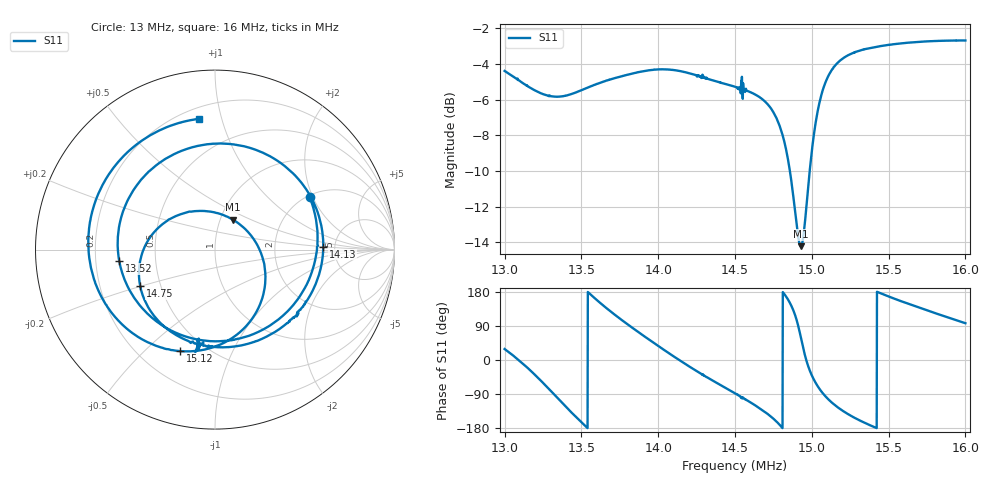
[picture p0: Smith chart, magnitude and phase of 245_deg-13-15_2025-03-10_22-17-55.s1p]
! NanoVNA-App
! Date: 2025-03-10 22:21:13
! Start: 13MHz Stop: 16MHz Points: 1601
! S-Parameter data: F S11
# Hz S RI R 50
!  Frequency  S11_Real  S11_Imag
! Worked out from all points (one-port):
!   1601 points, 13 MHz to 16 MHz, reference 50 ohm
!   lowest |S11| = -14.2 dB at 14.93 MHz (marker M1), VSWR 1.48, Z = 57.6 + j19.9 ohm
!   |S11| at or under -10 dB: 14.86 MHz to 14.99 MHz (129.2 kHz wide, 0.866 % of centre)
!   S11 on the Smith chart (normalised r, x): 13 MHz: 2.06, +1.89; 13.52 MHz: 0.30, -0.05; 14.13 MHz: 4.03, +0.21; 14.75 MHz: 0.38, -0.20; 15.12 MHz: 0.37, -0.65; 16 MHz: 0.27, +0.85
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1.3e7  0.5273 0.2922
1.308812e7  0.5686 0.00651
1.316875e7  0.4767 -0.2538
1.32775e7  0.1613 -0.4887
1.3375e7  -0.2012 -0.4705
1.352312e7  -0.5339 -0.062
1.362438e7  -0.4836 0.2803
1.375e7  -0.193 0.5477
1.391688e7  0.2974 0.5248
1.402562e7  0.5275 0.3046
1.4125e7  0.6031 0.0321
1.413062e7  0.6034 0.0162
1.432375e7  0.3907 -0.4186
1.45e7  0.0192 -0.5442
1.462938e7  -0.2522 -0.4527
1.47475e7  -0.4165 -0.2032
1.481688e7  -0.3873 0.0251
1.4875e7  -0.1995 0.194
1.492938e7  0.1013 0.166
1.496688e7  0.256 -0.0188
1.50025e7  0.2697 -0.2482
1.505875e7  0.0793 -0.5031
1.512062e7  -0.1922 -0.5658
1.525e7  -0.5575 -0.3744
1.541875e7  -0.704 -0.0111
1.5625e7  -0.6183 0.3753
1.581812e7  -0.3835 0.623
1.6e7  -0.0901 0.7283
